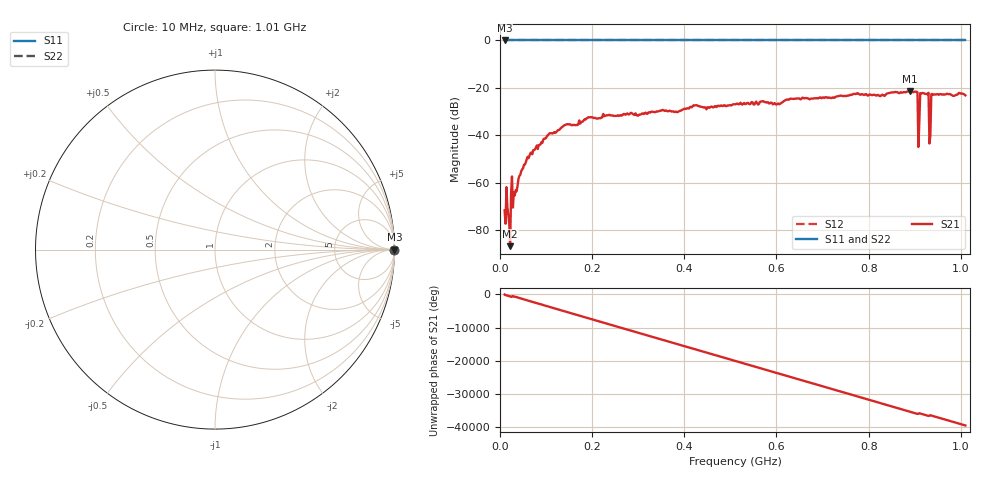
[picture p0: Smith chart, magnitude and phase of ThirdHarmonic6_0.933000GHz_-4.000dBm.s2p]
! 8/16/2025 6:23:44 AM
! C:\ANRITSUVNA\TEMP\TEMP.S2P
! CHANNEL.1
! TR.MEASUREMENT
! RAW.DATA
! RF.CORRECTION.OFF
! AVERAGING.OFF
! IF.BANDWIDTH: 5KHZ
! SWEEPTYPE:  FREQ.SWEEP(Linear)
! Reference Plane Port Info
! PORT:  PORT1  PORT2
! DISTANCE:  0  m  0  m
! TIME:  0  s  0  s
! PHASE.OFFSET:  0  deg.  0  deg.
! LOSS:  0  dB  0  dB
! REF.LOSS:  0  dB  0  dB
! REF.FREQ:  0  Hz  0  Hz
! Power Info
! POWER:  -20  dBm  -20  dBm
! EFF.POWER:  -20  dBm  -20  dBm
! SOURCE.ATTEN:  0  dB  0  dB
! TEST.ATTEN:  0  dB  0  dB
# GHZ S RI R 50.0
! FREQ.GHZ  S11RE  S11IM  S21RE  S21IM  S12RE  S12IM  S22RE  S22IM
!; PortSelection: Port_12
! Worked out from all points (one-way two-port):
!   501 points, 10 MHz to 1.01 GHz, reference 50 ohm
!   highest |S21| = -21.37 dB at 890 MHz (marker M1); lowest = -86.6 dB at 22 MHz (marker M2)
!   lowest |S11| = 0.0 dB at 10 MHz (marker M3)
!   |S11| at or under -10 dB: nowhere
!   |S22| runs from 0.0 to 0.0 dB; largest |S21 - S12| = 1.1
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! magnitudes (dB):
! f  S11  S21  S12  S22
! 10 MHz  0.0  -71.5  0.0  0.0
! 20 MHz  0.0  -76.7  0.0  0.0
! 22 MHz  0.0  -86.6  0.0  0.0
! 28 MHz  0.0  -70.4  0.0  0.0
! 44 MHz  0.0  -56.6  0.0  0.0
! 76 MHz  0.0  -45.9  0.0  0.0
! 140 MHz  0.0  -35.7  0.0  0.0
! 178 MHz  0.0  -34.3  0.0  0.0
! 344 MHz  0.0  -29.8  0.0  0.0
! 510 MHz  0.0  -26.9  0.0  0.0
! 678 MHz  0.0  -24.5  0.0  0.0
! 844 MHz  0.0  -22.2  0.0  0.0
! 890 MHz  0.0  -21.4  0.0  0.0
! 902 MHz  0.0  -21.6  0.0  0.0
! 906 MHz  0.0  -21.8  0.0  0.0
! 912 MHz  0.0  -22.2  0.0  0.0
! 916 MHz  0.0  -22.2  0.0  0.0
! 926 MHz  0.0  -22.5  0.0  0.0
! 930 MHz  0.0  -22.0  0.0  0.0
! 936 MHz  0.0  -22.6  0.0  0.0
! 940 MHz  0.0  -22.9  0.0  0.0
! 1.01 GHz  0.0  -23.1  0.0  0.0
